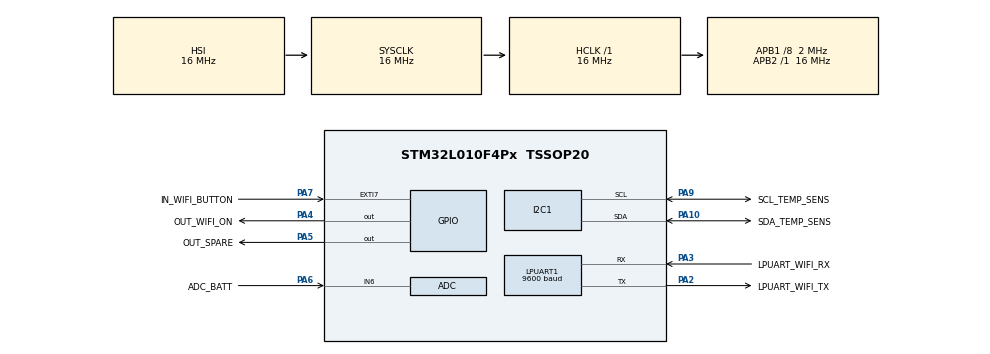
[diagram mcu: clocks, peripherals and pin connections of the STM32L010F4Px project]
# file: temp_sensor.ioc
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ADC.ClockPrescaler=ADC_CLOCK_SYNC_PCLK_DIV2
ADC.LowPowerAutoPowerOff=DISABLE
ADC.OversamplingMode=ENABLE
ADC.Ratio=ADC_OVERSAMPLING_RATIO_4
ADC.Resolution=ADC_RESOLUTION_10B
ADC.RightBitShift=ADC_RIGHTBITSHIFT_2
ADC.SamplingTime=ADC_SAMPLETIME_79CYCLES_5
I2C1.Timing=0x30510F17
LPUART1.BaudRate=9600
LPUART1.WordLength=UART_WORDLENGTH_8B
Mcu.Family=STM32L0
Mcu.Name=STM32L010F4Px
Mcu.Package=TSSOP20
Mcu.UserConstants=RF_UART,$$_LPUART1_IP_HANDLE_$$
NVIC.EXTI4_15_IRQn=true\:0\:0\:false\:false\:true\:true\:true\:true
NVIC.RTC_IRQn=true\:0\:0\:false\:false\:true\:true\:true\:true
PA10.GPIO_Label=SDA_TEMP_SENS
PA10.Mode=I2C
PA10.Signal=I2C1_SDA
PA13.Mode=Serial_Wire
PA13.Signal=SYS_SWDIO
PA14.Mode=Serial_Wire
PA14.Signal=SYS_SWCLK
PA2.GPIO_Label=LPUART_WIFI_TX
PA2.Mode=Asynchronous
PA2.Signal=LPUART1_TX
PA3.GPIO_Label=LPUART_WIFI_RX
PA3.Mode=Asynchronous
PA3.Signal=LPUART1_RX
PA4.GPIO_Label=OUT_WIFI_ON
PA4.Signal=GPIO_Output
PA5.GPIO_Label=OUT_SPARE
PA5.Signal=GPIO_Output
PA6.GPIO_Label=ADC_BATT
PA6.Mode=IN6
PA6.Signal=ADC_IN6
PA7.GPIO_Label=IN_WIFI_BUTTON
PA7.GPIO_ModeDefaultEXTI=GPIO_MODE_IT_FALLING
PA7.GPIO_PuPd=GPIO_PULLUP
PA7.Signal=GPXTI7
PA9.GPIO_Label=SCL_TEMP_SENS
PA9.Mode=I2C
PA9.Signal=I2C1_SCL
ProjectManager.HeapSize=0x0
ProjectManager.StackSize=0x400
ProjectManager.TargetToolchain=STM32CubeIDE
RCC.AHBFreq_Value=16000000
RCC.APB1CLKDivider=RCC_HCLK_DIV8
RCC.APB1Freq_Value=2000000
RCC.APB1TimFreq_Value=4000000
RCC.APB2Freq_Value=16000000
RCC.APB2TimFreq_Value=16000000
RCC.HCLKFreq_Value=16000000
RCC.HSE_VALUE=8000000
RCC.HSI16_VALUE=16000000
RCC.HSI_VALUE=16000000
RCC.I2c1ClockSelection=RCC_I2C1CLKSOURCE_HSI
RCC.LSE_VALUE=32768
RCC.Lpuart1ClockSelection=RCC_LPUART1CLKSOURCE_HSI
RCC.MSI_VALUE=2097000
RCC.PLLDIV=RCC_PLLDIV_3
RCC.SYSCLKFreq_VALUE=16000000
RCC.SYSCLKSource=RCC_SYSCLKSOURCE_HSI
RCC.Usart2ClockSelection=RCC_USART2CLKSOURCE_HSI
RCC.VCOOutputFreq_Value=48000000
RTC.SynchPrediv=287
RTC.WakeUpCounter-WakeUp=49079
VP_ADC_Vref_Input.Mode=IN-Vrefint
VP_RTC_VS_RTC_Activate.Mode=RTC_Enabled
VP_RTC_VS_RTC_WakeUp_intern.Mode=WakeUp
board=custom

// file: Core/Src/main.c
/* USER CODE BEGIN Header */
/**
  ******************************************************************************
  * @file           : main.c
  * @brief          : Main program body
  ******************************************************************************
  * @attention
  *
  * Copyright (c) 2026 STMicroelectronics.
  * All rights reserved.
  *
  * This software is licensed under terms that can be found in the LICENSE file
  * in the root directory of this software component.
  * If no LICENSE file comes with this software, it is provided AS-IS.
  *
  ******************************************************************************
  */
/* USER CODE END Header */
#include "main.h"

/* USER CODE BEGIN Includes */

/* The board-agnostic half of the firmware.  Everything below these two headers
   lives outside this CubeMX project (../../libs/src, ../../temp_sensor_main)
   and knows nothing about the STM32; the board it runs on is
   Core/Src/bsp_stm32.c and nothing else. */
#include "bsp.h"
#include "temp_sensor_main.h"

/* USER CODE END Includes */

/* USER CODE BEGIN PD */

/* TPS22919 tON is 1750 us typ at VIN 3.6 V, measured into CL = 0.1 uF.  The
   rail here carries 10.1 uF (C6 + C7), but the switch is slew-rate limited
   (~3 mV/us), so that only asks ~30 mA of its 1.5 A budget and tON holds.
   5 ms leaves margin over tON spread; module boot is handled by the Tuya
   heartbeat handshake, not by this delay. */
#define WIFI_RAIL_TON_MS                5U

/* USER CODE END PD */

ADC_HandleTypeDef hadc;

I2C_HandleTypeDef hi2c1;

UART_HandleTypeDef hlpuart1;

RTC_HandleTypeDef hrtc;

void SystemClock_Config(void);
static void MX_GPIO_Init(void);
static void MX_LPUART1_UART_Init(void);
static void MX_RTC_Init(void);
static void MX_ADC_Init(void);
static void MX_I2C1_Init(void);

int main(void)
{

  /* MCU Configuration--------------------------------------------------------*/

  /* Reset of all peripherals, Initializes the Flash interface and the Systick. */
  HAL_Init();

  /* Configure the system clock */
  SystemClock_Config();

  /* Initialize all configured peripherals */
  MX_GPIO_Init();
  MX_LPUART1_UART_Init();
  MX_RTC_Init();
  MX_ADC_Init();
  MX_I2C1_Init();
  /* USER CODE BEGIN 2 */

  // Delay to give the debugger a chance to attach
  HAL_Delay(2000);

  /* MX_LPUART1_UART_Init() above configured PA2/PA3 as AF while PA4 is still
     low, i.e. TX idling high into an unpowered module.  Park them and settle
     into the known-off state; the application calls Wifi_RailOn() when it
     actually wants the module. */
  Wifi_RailOff();

  /* Latches the reset reason, disarms the wakeup timer MX_RTC_Init() left
     running, enables the LPUART1 interrupt, and settles the board into its off
     state.  Must come after every MX_*_Init above, because it uses the handles
     they set up. */
  BSP_Init();

  TempSensorInit();

  /* USER CODE END 2 */

  /* Infinite loop */
  while (1)
  {

    /* USER CODE BEGIN 3 */

    /* One measurement cycle, then sleep until the next is due.  Everything
       that makes this device what it does is in there; this loop exists only
       because CubeMX owns the shape of main(). */
    TempSensorRunCycle();
  }
  /* USER CODE END 3 */
}

void SystemClock_Config(void)
{
  RCC_OscInitTypeDef RCC_OscInitStruct = {0};
  RCC_ClkInitTypeDef RCC_ClkInitStruct = {0};
  RCC_PeriphCLKInitTypeDef PeriphClkInit = {0};

  /** Configure the main internal regulator output voltage
  */
  __HAL_PWR_VOLTAGESCALING_CONFIG(PWR_REGULATOR_VOLTAGE_SCALE1);

  /** Initializes the RCC Oscillators according to the specified parameters
  * in the RCC_OscInitTypeDef structure.
  */
  RCC_OscInitStruct.OscillatorType = RCC_OSCILLATORTYPE_HSI|RCC_OSCILLATORTYPE_LSI;
  RCC_OscInitStruct.HSIState = RCC_HSI_ON;
  RCC_OscInitStruct.HSICalibrationValue = RCC_HSICALIBRATION_DEFAULT;
  RCC_OscInitStruct.LSIState = RCC_LSI_ON;
  RCC_OscInitStruct.PLL.PLLState = RCC_PLL_NONE;
  if (HAL_RCC_OscConfig(&RCC_OscInitStruct) != HAL_OK)
  {
    Error_Handler();
  }

  /** Initializes the CPU, AHB and APB buses clocks
  */
  RCC_ClkInitStruct.ClockType = RCC_CLOCKTYPE_HCLK|RCC_CLOCKTYPE_SYSCLK
                              |RCC_CLOCKTYPE_PCLK1|RCC_CLOCKTYPE_PCLK2;
  RCC_ClkInitStruct.SYSCLKSource = RCC_SYSCLKSOURCE_HSI;
  RCC_ClkInitStruct.AHBCLKDivider = RCC_SYSCLK_DIV1;
  RCC_ClkInitStruct.APB1CLKDivider = RCC_HCLK_DIV8;
  RCC_ClkInitStruct.APB2CLKDivider = RCC_HCLK_DIV1;

  if (HAL_RCC_ClockConfig(&RCC_ClkInitStruct, FLASH_LATENCY_0) != HAL_OK)
  {
    Error_Handler();
  }
  PeriphClkInit.PeriphClockSelection = RCC_PERIPHCLK_LPUART1|RCC_PERIPHCLK_I2C1
                              |RCC_PERIPHCLK_RTC;
  PeriphClkInit.Lpuart1ClockSelection = RCC_LPUART1CLKSOURCE_HSI;
  PeriphClkInit.I2c1ClockSelection = RCC_I2C1CLKSOURCE_HSI;
  PeriphClkInit.RTCClockSelection = RCC_RTCCLKSOURCE_LSI;
  if (HAL_RCCEx_PeriphCLKConfig(&PeriphClkInit) != HAL_OK)
  {
    Error_Handler();
  }
}

static void MX_ADC_Init(void)
{

  ADC_ChannelConfTypeDef sConfig = {0};

  /** Configure the global features of the ADC (Clock, Resolution, Data Alignment and number of conversion)
  */
  hadc.Instance = ADC1;
  hadc.Init.OversamplingMode = ENABLE;
  hadc.Init.Oversample.Ratio = ADC_OVERSAMPLING_RATIO_4;
  hadc.Init.Oversample.RightBitShift = ADC_RIGHTBITSHIFT_2;
  hadc.Init.Oversample.TriggeredMode = ADC_TRIGGEREDMODE_SINGLE_TRIGGER;
  hadc.Init.ClockPrescaler = ADC_CLOCK_SYNC_PCLK_DIV2;
  hadc.Init.Resolution = ADC_RESOLUTION_10B;
  hadc.Init.SamplingTime = ADC_SAMPLETIME_79CYCLES_5;
  hadc.Init.ScanConvMode = ADC_SCAN_DIRECTION_FORWARD;
  hadc.Init.DataAlign = ADC_DATAALIGN_RIGHT;
  hadc.Init.ContinuousConvMode = DISABLE;
  hadc.Init.DiscontinuousConvMode = DISABLE;
  hadc.Init.ExternalTrigConvEdge = ADC_EXTERNALTRIGCONVEDGE_NONE;
  hadc.Init.ExternalTrigConv = ADC_SOFTWARE_START;
  hadc.Init.DMAContinuousRequests = DISABLE;
  hadc.Init.EOCSelection = ADC_EOC_SINGLE_CONV;
  hadc.Init.Overrun = ADC_OVR_DATA_PRESERVED;
  hadc.Init.LowPowerAutoWait = DISABLE;
  hadc.Init.LowPowerFrequencyMode = DISABLE;
  hadc.Init.LowPowerAutoPowerOff = DISABLE;
  if (HAL_ADC_Init(&hadc) != HAL_OK)
  {
    Error_Handler();
  }

  /** Configure for the selected ADC regular channel to be converted.
  */
  sConfig.Channel = ADC_CHANNEL_6;
  sConfig.Rank = ADC_RANK_CHANNEL_NUMBER;
  if (HAL_ADC_ConfigChannel(&hadc, &sConfig) != HAL_OK)
  {
    Error_Handler();
  }

  /** Configure for the selected ADC regular channel to be converted.
  */
  sConfig.Channel = ADC_CHANNEL_VREFINT;
  if (HAL_ADC_ConfigChannel(&hadc, &sConfig) != HAL_OK)
  {
    Error_Handler();
  }
  /* USER CODE BEGIN ADC_Init 2 */

  /* The datasheet requires a calibration after every power-up; the quoted
     accuracy (E_T <= 4 LSB) only holds once it has run.  Prerequisite is a
     disabled ADC, which is the state HAL_ADC_Init() leaves behind.  Costs
     83 ADC cycles, ~10 us at f_ADC = 8 MHz. */
  if (HAL_ADCEx_Calibration_Start(&hadc, ADC_SINGLE_ENDED) != HAL_OK)
  {
    Error_Handler();
  }

  /* CubeMX does not emit this for the VREFINT channel.  Blocks up to 3 ms
     (t_VREFINT) waiting on SYSCFG VREFINT_RDY.  Call HAL_ADCEx_DisableVREFINT()
     before entering Stop -- VREFINT left enabled costs 3 uA there. */
  if (HAL_ADCEx_EnableVREFINT() != HAL_OK)
  {
    Error_Handler();
  }

  /* USER CODE END ADC_Init 2 */

}

static void MX_I2C1_Init(void)
{

  hi2c1.Instance = I2C1;
  hi2c1.Init.Timing = 0x30510F17;
  hi2c1.Init.OwnAddress1 = 0;
  hi2c1.Init.AddressingMode = I2C_ADDRESSINGMODE_7BIT;
  hi2c1.Init.DualAddressMode = I2C_DUALADDRESS_DISABLE;
  hi2c1.Init.OwnAddress2 = 0;
  hi2c1.Init.OwnAddress2Masks = I2C_OA2_NOMASK;
  hi2c1.Init.GeneralCallMode = I2C_GENERALCALL_DISABLE;
  hi2c1.Init.NoStretchMode = I2C_NOSTRETCH_DISABLE;
  if (HAL_I2C_Init(&hi2c1) != HAL_OK)
  {
    Error_Handler();
  }

  /** Configure Analogue filter
  */
  if (HAL_I2CEx_ConfigAnalogFilter(&hi2c1, I2C_ANALOGFILTER_ENABLE) != HAL_OK)
  {
    Error_Handler();
  }

  /** Configure Digital filter
  */
  if (HAL_I2CEx_ConfigDigitalFilter(&hi2c1, 0) != HAL_OK)
  {
    Error_Handler();
  }

}

static void MX_LPUART1_UART_Init(void)
{

  hlpuart1.Instance = LPUART1;
  hlpuart1.Init.BaudRate = 9600;
  hlpuart1.Init.WordLength = UART_WORDLENGTH_8B;
  hlpuart1.Init.StopBits = UART_STOPBITS_1;
  hlpuart1.Init.Parity = UART_PARITY_NONE;
  hlpuart1.Init.Mode = UART_MODE_TX_RX;
  hlpuart1.Init.HwFlowCtl = UART_HWCONTROL_NONE;
  hlpuart1.Init.OneBitSampling = UART_ONE_BIT_SAMPLE_DISABLE;
  hlpuart1.AdvancedInit.AdvFeatureInit = UART_ADVFEATURE_NO_INIT;
  if (HAL_UART_Init(&hlpuart1) != HAL_OK)
  {
    Error_Handler();
  }

}

static void MX_RTC_Init(void)
{

  /** Initialize RTC Only
  */
  hrtc.Instance = RTC;
  hrtc.Init.HourFormat = RTC_HOURFORMAT_24;
  hrtc.Init.AsynchPrediv = 127;
  hrtc.Init.SynchPrediv = 287;
  hrtc.Init.OutPut = RTC_OUTPUT_DISABLE;
  hrtc.Init.OutPutRemap = RTC_OUTPUT_REMAP_NONE;
  hrtc.Init.OutPutPolarity = RTC_OUTPUT_POLARITY_HIGH;
  hrtc.Init.OutPutType = RTC_OUTPUT_TYPE_OPENDRAIN;
  if (HAL_RTC_Init(&hrtc) != HAL_OK)
  {
    Error_Handler();
  }

  /** Enable the WakeUp
  */
  if (HAL_RTCEx_SetWakeUpTimer_IT(&hrtc, 49079, RTC_WAKEUPCLOCK_RTCCLK_DIV16) != HAL_OK)
  {
    Error_Handler();
  }

}

static void MX_GPIO_Init(void)
{
  GPIO_InitTypeDef GPIO_InitStruct = {0};

  /* GPIO Ports Clock Enable */
  __HAL_RCC_GPIOA_CLK_ENABLE();

  /*Configure GPIO pin Output Level */
  HAL_GPIO_WritePin(GPIOA, OUT_WIFI_ON_Pin|OUT_SPARE_Pin, GPIO_PIN_RESET);

  /*Configure GPIO pins : OUT_WIFI_ON_Pin OUT_SPARE_Pin */
  GPIO_InitStruct.Pin = OUT_WIFI_ON_Pin|OUT_SPARE_Pin;
  GPIO_InitStruct.Mode = GPIO_MODE_OUTPUT_PP;
  GPIO_InitStruct.Pull = GPIO_NOPULL;
  GPIO_InitStruct.Speed = GPIO_SPEED_FREQ_LOW;
  HAL_GPIO_Init(GPIOA, &GPIO_InitStruct);

  /*Configure GPIO pin : IN_WIFI_BUTTON_Pin */
  GPIO_InitStruct.Pin = IN_WIFI_BUTTON_Pin;
  GPIO_InitStruct.Mode = GPIO_MODE_IT_FALLING;
  GPIO_InitStruct.Pull = GPIO_PULLUP;
  HAL_GPIO_Init(IN_WIFI_BUTTON_GPIO_Port, &GPIO_InitStruct);

  /* EXTI interrupt init*/
  HAL_NVIC_SetPriority(EXTI4_15_IRQn, 0, 0);
  HAL_NVIC_EnableIRQ(EXTI4_15_IRQn);

}

/* USER CODE BEGIN 4 */

/**
  * @brief  Bring up the Wi-Fi rail, then hand PA2/PA3 over to LPUART1.
  * @note   Order matters.  PA2 (LPUART1_TX) idles high, push-pull at VDD.
  *         With U5 off, that current leaves through the T3-3S input ESD
  *         diode and part-powers VBAT; U5's QOD pin is unconnected, so
  *         nothing discharges the rail afterwards.  Power first, drive
  *         second.
  */
void Wifi_RailOn(void)
{
  HAL_GPIO_WritePin(OUT_WIFI_ON_GPIO_Port, OUT_WIFI_ON_Pin, GPIO_PIN_SET);
  HAL_Delay(WIFI_RAIL_TON_MS);
  MX_LPUART1_UART_Init();
}

/**
  * @brief  Park PA2/PA3, then cut the Wi-Fi rail.
  * @note   HAL_UART_DeInit() runs HAL_UART_MspDeInit(), which calls
  *         HAL_GPIO_DeInit() on PA2/PA3.  That leaves both pins in analog
  *         mode (MODER = 0b11), so there is no drive, no Schmitt trigger
  *         and no leakage path into the unpowered module.
  */
void Wifi_RailOff(void)
{
  HAL_UART_DeInit(&hlpuart1);
  HAL_GPIO_WritePin(OUT_WIFI_ON_GPIO_Port, OUT_WIFI_ON_Pin, GPIO_PIN_RESET);
}

/* USER CODE END 4 */

void Error_Handler(void)
{
  /* USER CODE BEGIN Error_Handler_Debug */
  /* A HAL call that failed.  Most of these are init, but SystemClock_Config()
     runs again after every Stop (BSP_McuSleep), so this is reachable in the
     field.  The generated spin, with interrupts off, was a dead board until
     somebody pressed Reset; resetting at least tries again, and the next run
     reports it as a fault (DP 104, r=flt). */
  BSP_FatalReset();
  /* USER CODE END Error_Handler_Debug */
}
